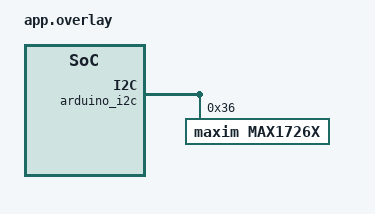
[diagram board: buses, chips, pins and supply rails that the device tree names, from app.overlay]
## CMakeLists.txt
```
# SPDX-License-Identifier: Apache-2.0

cmake_minimum_required(VERSION 3.13.1)
find_package(Zephyr REQUIRED HINTS $ENV{ZEPHYR_BASE})
project(max1726x)

FILE(GLOB app_sources src/*.c)
target_sources(app PRIVATE ${app_sources})
```

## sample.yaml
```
sample:
  description: MAX1726X sensor sample
  name: MAX1726X sample
tests:
  sample.sensor.max1726x:
    build_only: true
    depends_on: arduino_i2c
    harness: console
    tags: sensors
    platform_allow: nrf52840dk_nrf52840
    harness_config:
        type: one_line
        regex:
            - "V: (.*) V; I: (.*) mA; T: (.*) °C"
        fixture: fixture_i2c_max1726x
```

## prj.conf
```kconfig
CONFIG_I2C=y
CONFIG_LOG=y
CONFIG_SENSOR=y
CONFIG_MAX1726X=y
CONFIG_CBPRINTF_FP_SUPPORT=y
```

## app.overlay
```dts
/*
 * Copyright (c) 2021 Matija Tudan
 *
 * SPDX-License-Identifier: Apache-2.0
 */

&arduino_i2c {
	status = "okay";

	max1726x@36 {
		compatible = "maxim,max1726x";
		label = "MAX1726X";
		reg = <0x36>;
		design-voltage = <3600>;
		desired-voltage = <3600>;
		desired-charging-current = <2000>;
		design-cap = <17000>;
		empty-voltage = <3300>;
		recovery-voltage = <3880>;
		charge-voltage = <3600>;
		status = "okay";
	};
};
```

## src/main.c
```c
/*
 * Copyright (c) 2020 Matija Tudan
 *
 * SPDX-License-Identifier: Apache-2.0
 */

#include <zephyr.h>
#include <device.h>
#include <devicetree.h>
#include <drivers/sensor.h>

#define MAX1726X DT_INST(0, maxim_max1726x)

#if DT_NODE_HAS_STATUS(MAX1726X, okay)
#define MAX1726X_LABEL DT_LABEL(MAX1726X)
#else
#error Your devicetree has no enabled nodes with compatible "maxim,max1726x"
#define MAX1726X_LABEL "<none>"
#endif

void main(void)
{
	const struct device *dev = device_get_binding(MAX1726X_LABEL);

	if (dev == NULL) {
		printk("No device found...\n");
		return;
	}
	printk("Found device %s\n", dev->name);

	while (1) {
		struct sensor_value voltage, avg_current, temperature;
		float i_avg;

		sensor_sample_fetch(dev);
		sensor_channel_get(dev, SENSOR_CHAN_GAUGE_VOLTAGE, &voltage);
		sensor_channel_get(dev, SENSOR_CHAN_GAUGE_AVG_CURRENT,
						  &avg_current);
		sensor_channel_get(dev, SENSOR_CHAN_GAUGE_TEMP, &temperature);

		i_avg = avg_current.val1 + (avg_current.val2 / 1000000.0);

		printk("V: %d.%06d V; I: %f mA; T: %d.%06d °C\n",
		      voltage.val1, voltage.val2, i_avg,
		      temperature.val1, temperature.val2);

		k_sleep(K_MSEC(1000));
	}
}
```
